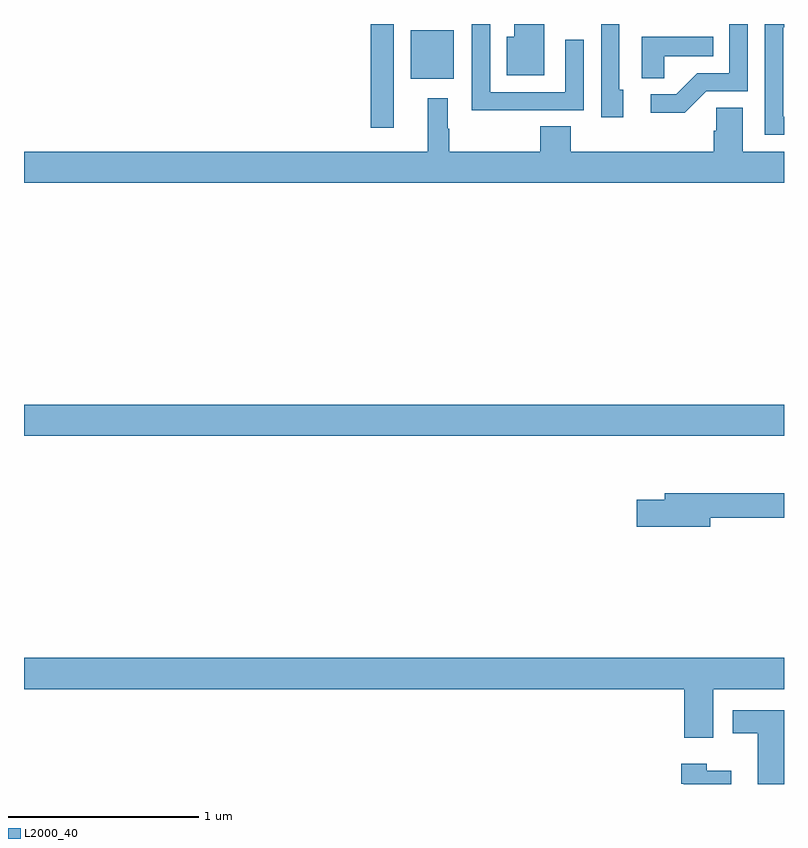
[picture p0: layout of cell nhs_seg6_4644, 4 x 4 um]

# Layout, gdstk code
import gdstk
lib = gdstk.Library(unit=1e-6, precision=1e-09)
def R(c, l, rs):  # rectangles x0, y0, x1, y1
    for r in rs: c.add(gdstk.rectangle(r[:2], r[2:], *l))
def P(c, l, *ps):  # polygons
    for p in ps: c.add(gdstk.Polygon(p, *l))
L2000_40 = (2000, 40)

nhs_seg6_4644 = lib.new_cell('nhs_seg6_4644')
R(nhs_seg6_4644, L2000_40, [(385,951.332,389,951.496), (386.826,952.953,386.947,953.5), (387.035,953.213,387.262,953.467)])
P(nhs_seg6_4644, L2000_40, [(388.59,953.145),(388.809,953.145),(388.809,953.5),(388.713,953.5),(388.713,953.241),(388.544,953.241),(388.433,953.13),(388.299,953.13),(388.299,953.033),(388.477,953.033)],
  [(387.739,953.5),(387.581,953.5),(387.581,953.434),(387.542,953.434),(387.542,953.231),(387.739,953.231)],
  [(388.153,953.154),(388.134,953.154),(388.134,953.5),(388.038,953.5),(388.038,953.01),(388.153,953.01)],
  [(389,953.013),(388.995,953.013),(388.995,953.482),(389,953.482),(389,953.5),(388.899,953.5),(388.899,952.917),(389,952.917)],
  [(387.629,953.046),(387.945,953.046),(387.945,953.416),(387.849,953.416),(387.849,953.142),(387.453,953.142),(387.453,953.5),(387.357,953.5),(387.357,953.045),(387.629,953.045)],
  [(388.371,953.33),(388.628,953.33),(388.628,953.434),(388.25,953.434),(388.25,953.215),(388.371,953.215)],
  [(389,952.828),(388.783,952.828),(388.783,953.06),(388.644,953.06),(388.644,952.937),(388.631,952.937),(388.631,952.828),(387.878,952.828),(387.878,952.961),(387.718,952.961),(387.718,952.828),(387.239,952.828),(387.239,952.949),(387.229,952.949),(387.229,953.11),(387.125,953.11),(387.125,952.828),(385,952.828),(385,952.664),(389,952.664)],
  [(388.612,950.902),(389,950.902),(389,951.031),(388.373,951.031),(388.373,950.997),(388.224,950.997),(388.224,950.855),(388.612,950.855)],
  [(388.627,950),(389,950),(389,950.164),(385,950.164),(385,950),(388.475,950),(388.475,949.743),(388.627,949.743)],
  [(389,949.888),(388.731,949.888),(388.731,949.766),(388.862,949.766),(388.862,949.5),(389,949.5)],
  [(388.723,949.57),(388.594,949.57),(388.594,949.606),(388.46,949.606),(388.46,949.502),(388.472,949.502),(388.472,949.5),(388.723,949.5)])

lib.write_gds('nhs_seg6_4644.gds')
